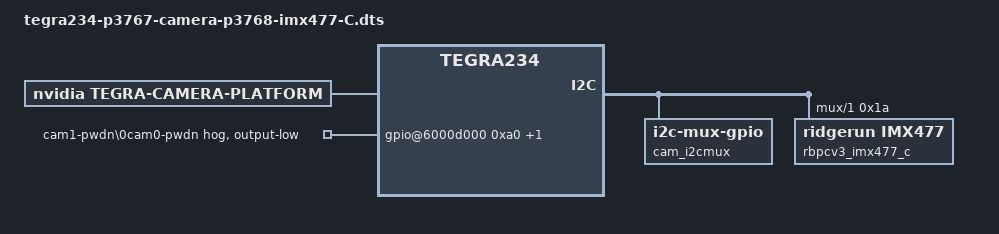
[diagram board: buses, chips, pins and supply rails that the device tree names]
/dts-v1/;

/ {
	overlay-name = "Camera IMX477-C";
	jetson-header-name = "Jetson 22pin CSI Connector";
	compatible = "nvidia,p3768-0000+p3767-0000\0nvidia,p3768-0000+p3767-0001\0nvidia,p3768-0000+p3767-0003\0nvidia,p3768-0000+p3767-0004\0nvidia,p3768-0000+p3767-0005\0nvidia,p3768-0000+p3767-0000-super\0nvidia,p3768-0000+p3767-0001-super\0nvidia,p3768-0000+p3767-0003-super\0nvidia,p3768-0000+p3767-0004-super\0nvidia,p3768-0000+p3767-0005-super";

	fragment@0 {
		target-path = "/";

		__overlay__ {

			tegra-capture-vi {
				num-channels = <0x01>;

				ports {
					#address-cells = <0x01>;
					#size-cells = <0x00>;

					port@0 {
						reg = <0x00>;

						endpoint {
							port-index = <0x02>;
							bus-width = <0x02>;
							remote-endpoint = <0x01>;
							phandle = <0x03>;
						};
					};
				};
			};

			tegra-camera-platform {
				compatible = "nvidia, tegra-camera-platform";

				modules {

					module1 {
						badge = "jakku_rear_RBPCV3";
						position = "rear";
						orientation = "1";

						drivernode0 {
							pcl_id = "v4l2_sensor";
							sysfs-device-tree = "/sys/firmware/devicetree/base/bus@0/cam_i2cmux/i2c@1/rbpcv3_imx477_c@1a";
						};
					};
				};
			};

			bus@0 {

				host1x@13e00000 {

					nvcsi@15a00000 {
						num-channels = <0x01>;
						#address-cells = <0x01>;
						#size-cells = <0x00>;

						channel@0 {
							reg = <0x00>;

							ports {
								#address-cells = <0x01>;
								#size-cells = <0x00>;

								port@0 {
									reg = <0x00>;

									endpoint@0 {
										port-index = <0x02>;
										bus-width = <0x02>;
										remote-endpoint = <0x02>;
										phandle = <0x04>;
									};
								};

								port@1 {
									reg = <0x01>;

									endpoint@1 {
										remote-endpoint = <0x03>;
										phandle = <0x01>;
									};
								};
							};
						};
					};
				};

				cam_i2cmux {
					status = "okay";
					compatible = "i2c-mux-gpio";
					#address-cells = <0x01>;
					#size-cells = <0x00>;
					mux-gpios = <0xffffffff 0x13 0x00>;
					i2c-parent = <0xffffffff>;

					i2c@0 {

						rbpcv2_imx219_a@10 {
							status = "disabled";
						};
					};

					i2c@1 {
						status = "okay";
						reg = <0x01>;
						#address-cells = <0x01>;
						#size-cells = <0x00>;

						rbpcv2_imx219_c@10 {
							status = "disabled";
						};

						rbpcv3_imx477_c@1a {
							reset-gpios = <0xffffffff 0xa0 0x00>;
							compatible = "ridgerun,imx477";
							reg = <0x1a>;
							devnode = "video0";
							physical_w = "3.680";
							physical_h = "2.760";
							sensor_model = "imx477";
							use_sensor_mode_id = "true";

							mode0 {
								mclk_khz = "24000";
								num_lanes = "2";
								tegra_sinterface = "serial_c";
								phy_mode = "DPHY";
								discontinuous_clk = "no";
								dpcm_enable = "false";
								cil_settletime = "0";
								lane_polarity = "0";
								active_w = "3840";
								active_h = "2160";
								mode_type = "bayer";
								pixel_phase = "rggb";
								csi_pixel_bit_depth = "10";
								readout_orientation = "90";
								line_length = "11200";
								inherent_gain = "1";
								mclk_multiplier = "80";
								pix_clk_hz = "300000000";
								gain_factor = "16";
								framerate_factor = "1000000";
								exposure_factor = "1000000";
								min_gain_val = "16";
								max_gain_val = "356";
								step_gain_val = "1";
								default_gain = "16";
								min_hdr_ratio = "1";
								max_hdr_ratio = "1";
								min_framerate = "2000000";
								max_framerate = "30000000";
								step_framerate = "1";
								default_framerate = "30000000";
								min_exp_time = "13";
								max_exp_time = "683709";
								step_exp_time = "1";
								default_exp_time = "2495";
								embedded_metadata_height = "2";
							};

							mode1 {
								mclk_khz = "24000";
								num_lanes = "2";
								tegra_sinterface = "serial_c";
								phy_mode = "DPHY";
								discontinuous_clk = "no";
								dpcm_enable = "false";
								cil_settletime = "0";
								lane_polarity = "0";
								active_w = "1920";
								active_h = "1080";
								mode_type = "bayer";
								pixel_phase = "rggb";
								csi_pixel_bit_depth = "10";
								readout_orientation = "90";
								line_length = "7000";
								inherent_gain = "1";
								mclk_multiplier = "80";
								pix_clk_hz = "300000000";
								gain_factor = "16";
								framerate_factor = "1000000";
								exposure_factor = "1000000";
								min_gain_val = "16";
								max_gain_val = "356";
								step_gain_val = "1";
								default_gain = "16";
								min_hdr_ratio = "1";
								max_hdr_ratio = "1";
								min_framerate = "2000000";
								max_framerate = "60000000";
								step_framerate = "1";
								default_framerate = "60000000";
								min_exp_time = "13";
								max_exp_time = "683709";
								step_exp_time = "1";
								default_exp_time = "2495";
								embedded_metadata_height = "2";
							};

							ports {
								#address-cells = <0x01>;
								#size-cells = <0x00>;

								port@0 {
									reg = <0x00>;

									endpoint {
										port-index = <0x02>;
										bus-width = <0x02>;
										remote-endpoint = <0x04>;
										phandle = <0x02>;
									};
								};
							};
						};
					};
				};

				gpio@6000d000 {

					camera-control-output-low {
						gpio-hog;
						output-low;
						gpios = <0xa0 0x00 0x3e 0x00>;
						label = "cam1-pwdn\0cam0-pwdn";
					};
				};
			};
		};
	};

	__symbols__ {
		rbpcv3_imx477_vi_in1 = "/fragment@0/__overlay__/tegra-capture-vi/ports/port@0/endpoint";
		rbpcv3_imx477_csi_in1 = "/fragment@0/__overlay__/bus@0/host1x@13e00000/nvcsi@15a00000/channel@0/ports/port@0/endpoint@0";
		rbpcv3_imx477_csi_out1 = "/fragment@0/__overlay__/bus@0/host1x@13e00000/nvcsi@15a00000/channel@0/ports/port@1/endpoint@1";
		rbpcv3_imx477_out1 = "/fragment@0/__overlay__/bus@0/cam_i2cmux/i2c@1/rbpcv3_imx477_c@1a/ports/port@0/endpoint";
	};

	__fixups__ {
		gpio_aon = "/fragment@0/__overlay__/bus@0/cam_i2cmux:mux-gpios:0";
		cam_i2c = "/fragment@0/__overlay__/bus@0/cam_i2cmux:i2c-parent:0";
		gpio = "/fragment@0/__overlay__/bus@0/cam_i2cmux/i2c@1/rbpcv3_imx477_c@1a:reset-gpios:0";
	};

	__local_fixups__ {

		fragment@0 {

			__overlay__ {

				tegra-capture-vi {

					ports {

						port@0 {

							endpoint {
								remote-endpoint = <0x00>;
							};
						};
					};
				};

				bus@0 {

					host1x@13e00000 {

						nvcsi@15a00000 {

							channel@0 {

								ports {

									port@0 {

										endpoint@0 {
											remote-endpoint = <0x00>;
										};
									};

									port@1 {

										endpoint@1 {
											remote-endpoint = <0x00>;
										};
									};
								};
							};
						};
					};

					cam_i2cmux {

						i2c@1 {

							rbpcv3_imx477_c@1a {

								ports {

									port@0 {

										endpoint {
											remote-endpoint = <0x00>;
										};
									};
								};
							};
						};
					};
				};
			};
		};
	};
};
